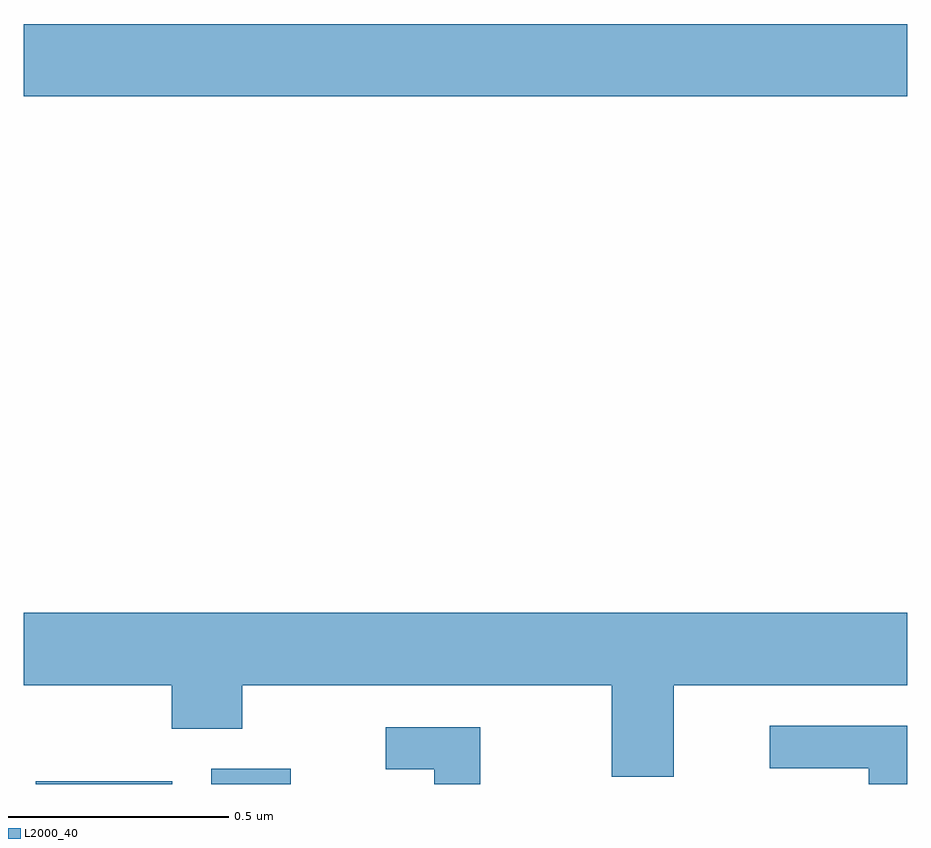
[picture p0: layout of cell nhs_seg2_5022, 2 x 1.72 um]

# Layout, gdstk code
import gdstk
lib = gdstk.Library(unit=1e-6, precision=1e-09)
def R(c, l, rs):  # rectangles x0, y0, x1, y1
    for r in rs: c.add(gdstk.rectangle(r[:2], r[2:], *l))
def P(c, l, *ps):  # polygons
    for p in ps: c.add(gdstk.Polygon(p, *l))
L2000_40 = (2000, 40)

nhs_seg2_5022 = lib.new_cell('nhs_seg2_5022')
R(nhs_seg2_5022, L2000_40, [(174.027,592.8,174.336,592.806), (174.425,592.8,174.604,592.834), (174,594.356,176,594.52)])
P(nhs_seg2_5022, L2000_40, [(175.471,593.024),(176,593.024),(176,593.188),(174,593.188),(174,593.024),(174.335,593.024),(174.335,592.925),(174.495,592.925),(174.495,593.024),(175.331,593.024),(175.331,592.816),(175.471,592.816)],
  [(176,592.932),(175.689,592.932),(175.689,592.836),(175.913,592.836),(175.913,592.8),(176,592.8)],
  [(175.033,592.929),(174.819,592.929),(174.819,592.833),(174.929,592.833),(174.929,592.8),(175.033,592.8)])

lib.write_gds('nhs_seg2_5022.gds')
